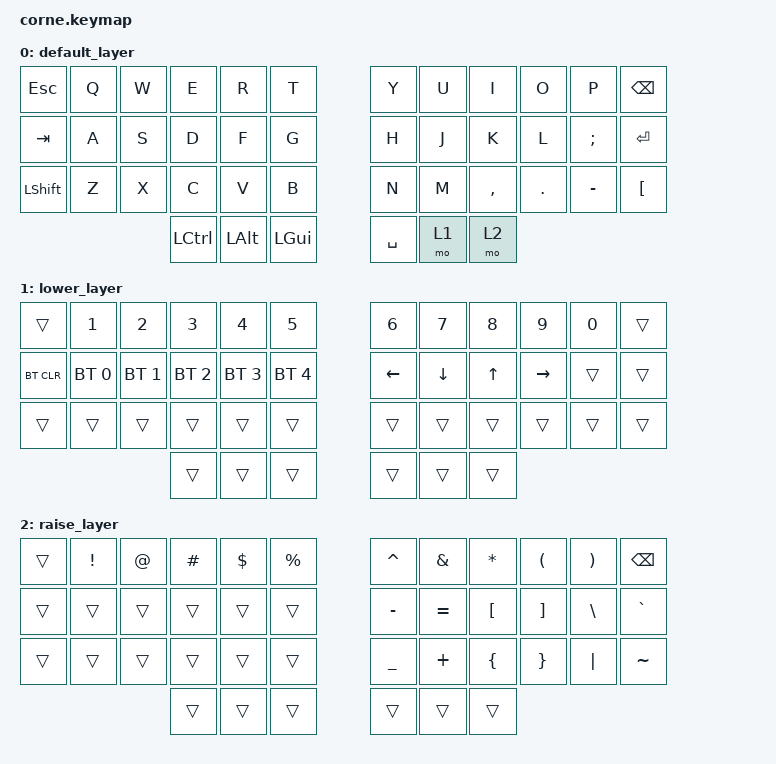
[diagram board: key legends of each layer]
/*
 * Copyright (c) 2020 The ZMK Contributors
 *
 * SPDX-License-Identifier: MIT
 */

#include <behaviors.dtsi>
#include <dt-bindings/zmk/bt.h>
#include <dt-bindings/zmk/keys.h>

/ {
    keymap {
        compatible = "zmk,keymap";

        default_layer {
            // -----------------------------------------------------------------------------------------
            // |  TAB |  Q  |  W  |  E  |  R  |  T  |   |  Y  |  U   |  I  |  O  |  P  | BSPC |
            // | CTRL |  A  |  S  |  D  |  F  |  G  |   |  H  |  J   |  K  |  L  |  ;  |  '   |
            // | SHFT |  Z  |  X  |  C  |  V  |  B  |   |  N  |  M   |  ,  |  .  |  /  | ESC  |
            //                    | GUI | LWR | SPC |   | ENT | RSE  | ALT |

            bindings = <
&kp ESCAPE  &kp Q  &kp W  &kp E             &kp R         &kp T       &kp Y      &kp U  &kp I      &kp O    &kp P          &kp BSPC
&kp TAB     &kp A  &kp S  &kp D             &kp F         &kp G       &kp H      &kp J  &kp K      &kp L    &kp SEMICOLON  &kp ENTER
&kp LSHFT   &kp Z  &kp X  &kp C             &kp V         &kp B       &kp N      &kp M  &kp COMMA  &kp DOT  &kp MINUS      &kp LBKT
                          &kp LEFT_CONTROL  &kp LEFT_ALT  &kp LGUI    &kp SPACE  &mo 1  &mo 2
            >;
        };

        lower_layer {
            // -----------------------------------------------------------------------------------------
            // |  TAB |  1  |  2  |  3  |  4  |  5  |   |  6  |  7  |  8  |  9  |  0  | BSPC |
            // | BTCLR| BT1 | BT2 | BT3 | BT4 | BT5 |   | LFT | DWN |  UP | RGT |     |      |
            // | SHFT |     |     |     |     |     |   |     |     |     |     |     |      |
            //                    | GUI |     | SPC |   | ENT |     | ALT |

            bindings = <
&trans      &kp N1        &kp N2        &kp N3        &kp N4        &kp N5          &kp N6    &kp N7    &kp N8  &kp N9     &kp N0  &trans
&bt BT_CLR  &bt BT_SEL 0  &bt BT_SEL 1  &bt BT_SEL 2  &bt BT_SEL 3  &bt BT_SEL 4    &kp LEFT  &kp DOWN  &kp UP  &kp RIGHT  &trans  &trans
&trans      &trans        &trans        &trans        &trans        &trans          &trans    &trans    &trans  &trans     &trans  &trans
                                        &trans        &trans        &trans          &trans    &trans    &trans
            >;
        };

        raise_layer {
            // -----------------------------------------------------------------------------------------
            // |  TAB |  !  |  @  |  #  |  $  |  %  |   |  ^  |  &  |  *  |  (  |  )  | BSPC |
            // | CTRL |     |     |     |     |     |   |  -  |  =  |  [  |  ]  |  \  |  `   |
            // | SHFT |     |     |     |     |     |   |  _  |  +  |  {  |  }  | "|" |  ~   |
            //                    | GUI |     | SPC |   | ENT |     | ALT |

            bindings = <
&trans  &kp EXCL  &kp AT  &kp HASH  &kp DLLR  &kp PRCNT    &kp CARET  &kp AMPS   &kp ASTRK  &kp LPAR  &kp RPAR  &kp BSPC
&trans  &trans    &trans  &trans    &trans    &trans       &kp MINUS  &kp EQUAL  &kp LBKT   &kp RBKT  &kp BSLH  &kp GRAVE
&trans  &trans    &trans  &trans    &trans    &trans       &kp UNDER  &kp PLUS   &kp LBRC   &kp RBRC  &kp PIPE  &kp TILDE
                          &trans    &trans    &trans       &trans     &trans     &trans
            >;
        };
    };
};
